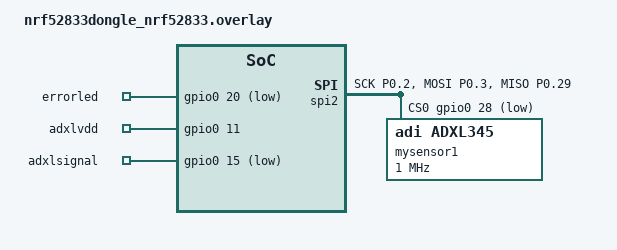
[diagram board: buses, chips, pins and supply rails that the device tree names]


&pinctrl {
	
	spi2_default: spi2_default {
		group1 {
			psels = <NRF_PSEL(SPIM_SCK, 0, 2)>,
				<NRF_PSEL(SPIM_MOSI, 0, 3)>,
				<NRF_PSEL(SPIM_MISO, 0, 29)>;
		};
	};

	spi2_sleep: spi2_sleep {
		group1 {
			psels = <NRF_PSEL(SPIM_SCK, 0, 2)>,
				<NRF_PSEL(SPIM_MOSI, 0, 3)>,
				<NRF_PSEL(SPIM_MISO, 0, 29)>;
			low-power-enable;
		};
	};
};

&spi2 {
	compatible = "nordic,nrf-spi";
    	status= "okay";
	pinctrl-0 = <&spi2_default>;
	pinctrl-1 = <&spi2_sleep>;
	pinctrl-names = "default", "sleep";
    	cs-gpios = <&gpio0 28 GPIO_ACTIVE_LOW>;
		mysensor1: mysensor1@0 {
			compatible = "adi,adxl345";
			reg = <0x0>;
			spi-max-frequency = <1000000>; 
		};
};

/ {
	/* These aliases are provided for compatibility with samples */
	aliases {
	
		error-led=&errorled;
		adxl-select = &adxlsignal;
		adxl-vdd = &adxlvdd;
		
	};
};



&pinctrl {
    device_enabler_gpios {
        compatible = "gpio-keys"; 
        
        errorled: error_led {
            gpios = <&gpio0 20 GPIO_ACTIVE_LOW>;
        };
		adxlvdd: adxl_vdd{
			gpios = <&gpio0 11 GPIO_ACTIVE_HIGH>;
		};
		adxlsignal: adxl_signal{
			gpios = <&gpio0 15 ( GPIO_ACTIVE_LOW)>;
		};


    };
};
